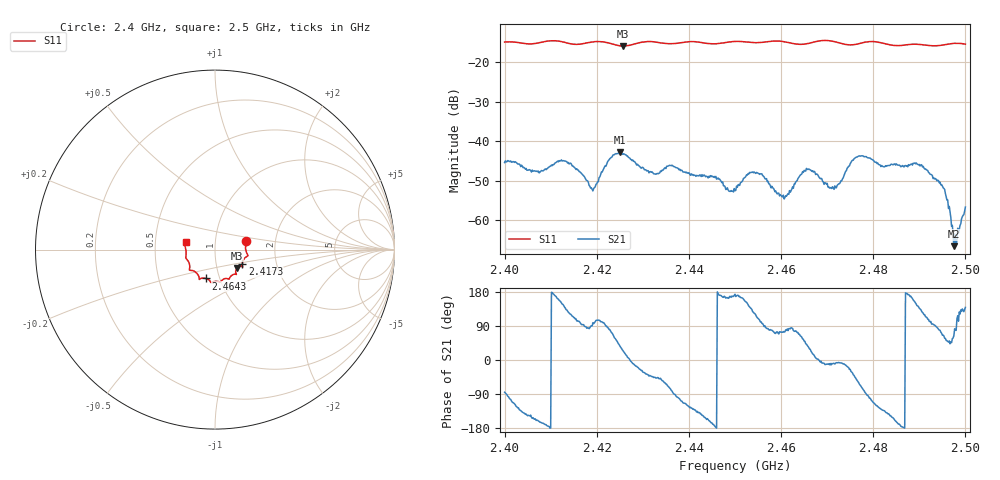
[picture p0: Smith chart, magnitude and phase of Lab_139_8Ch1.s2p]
# Hz S RI R 50
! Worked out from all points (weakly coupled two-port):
!   601 points, 2.4 GHz to 2.5 GHz, reference 50 ohm
!   highest |S21| = -42.78 dB at 2.425 GHz (marker M1); lowest = -66.6 dB at 2.4975 GHz (marker M2)
!   lowest |S11| = -15.9 dB at 2.4257 GHz (marker M3), VSWR 1.38, Z = 62.5 - j13.1 ohm
!   |S11| at or under -10 dB: start of sweep to end of sweep
!   S12 and S22 are empty: the file has one direction only
!   S11 on the Smith chart (normalised r, x): 2.4 GHz: 1.41, +0.14; 2.4173 GHz: 1.34, -0.23; 2.4643 GHz: 0.86, -0.28; 2.5 GHz: 0.72, +0.06
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2.4e9  0.173 0.0494  0.000465 -0.00535  0 0  0 0
2.412833e9  0.175 -0.0398  -0.00456 0.00338  0 0  0 0
2.416667e9  0.153 -0.0744  -0.000249 0.00391  0 0  0 0
2.417333e9  0.1524 -0.0819  7.27e-05 0.00355  0 0  0 0
2.419167e9  0.1537 -0.0956  -0.000347 0.00232  0 0  0 0
2.425e9  0.1281 -0.098  0.00576 0.00442  0 0  0 0
2.425667e9  0.1228 -0.1022  0.00617 0.00288  0 0  0 0
2.433333e9  0.113 -0.137  0.00267 -0.00282  0 0  0 0
2.436333e9  0.0919 -0.1447  0.000697 -0.00492  0 0  0 0
2.45e9  0.0294 -0.1808  -0.00235 0.000267  0 0  0 0
2.454333e9  0.00762 -0.1764  -0.00213 0.00338  0 0  0 0
2.460667e9  -0.0254 -0.1799  0.000522 0.00178  0 0  0 0
2.464333e9  -0.0498 -0.1606  0.00175 0.00336  0 0  0 0
2.466667e9  -0.0758 -0.1598  0.00391 0.00143  0 0  0 0
2.471e9  -0.0872 -0.1632  0.00249 -0.000405  0 0  0 0
2.4765e9  -0.1219 -0.1175  0.00371 -0.00511  0 0  0 0
2.483333e9  -0.1407 -0.09  -0.00389 -0.00305  0 0  0 0
2.4895e9  -0.1628 -0.0435  -0.00414 0.00307  0 0  0 0
2.4945e9  -0.1629 0.0042  0.000614 0.00298  0 0  0 0
2.496e9  -0.1673 0.0192  0.00113 0.0014  0 0  0 0
2.4975e9  -0.1709 0.0289  0.000207 0.000422  0 0  0 0
2.5e9  -0.1639 0.0422  -0.00111 0.000967  0 0  0 0
